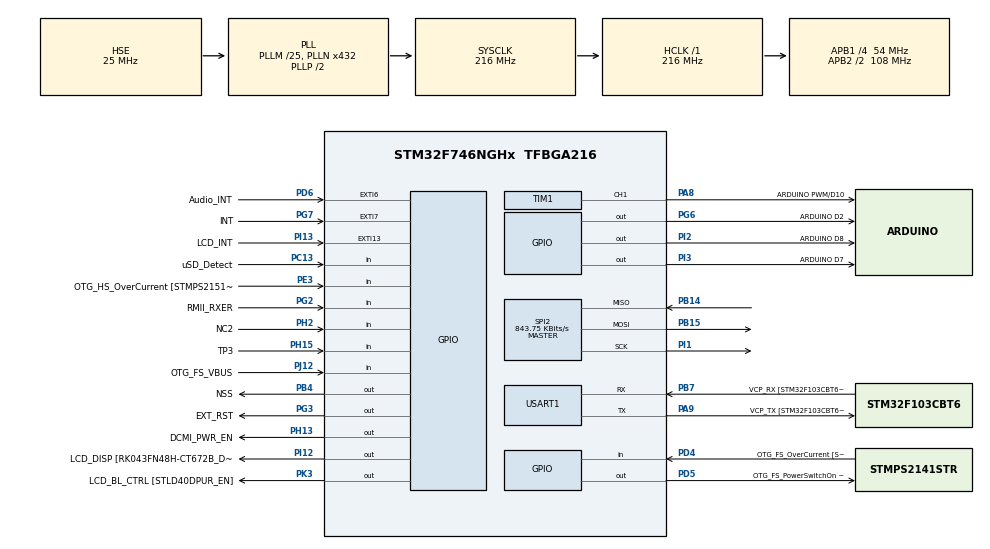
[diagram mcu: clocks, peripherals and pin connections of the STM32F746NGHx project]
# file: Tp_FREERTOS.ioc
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FREERTOS.Tasks01=defaultTask,0,128,StartDefaultTask,Default,NULL,Dynamic,NULL,NULL
FREERTOS.configCHECK_FOR_STACK_OVERFLOW=1
FREERTOS.configGENERATE_RUN_TIME_STATS=1
FREERTOS.configUSE_STATS_FORMATTING_FUNCTIONS=1
FREERTOS.configUSE_TRACE_FACILITY=1
Mcu.Family=STM32F7
Mcu.Name=STM32F746NGHx
Mcu.Package=TFBGA216
NVIC.PriorityGroup=NVIC_PRIORITYGROUP_4
NVIC.TIM6_DAC_IRQn=true\:15\:0\:false\:false\:true\:false\:false\:true\:true
NVIC.TimeBase=TIM6_DAC_IRQn
NVIC.TimeBaseIP=TIM6
NVIC.USART1_IRQn=true\:5\:0\:false\:false\:true\:true\:true\:true\:true
PA0/WKUP.GPIO_Label=ARDUINO A0
PA0/WKUP.GPIO_Mode=GPIO_MODE_ANALOG
PA0/WKUP.GPIO_PuPd=GPIO_NOPULL
PA0/WKUP.Signal=ADCx_IN0
PA1.GPIO_Label=RMII_REF_CLK [LAN8742A-CZ-TR_REFCLK0]
PA1.Signal=ETH_REF_CLK
PA11.GPIO_Label=OTG_FS_N
PA11.Signal=USB_OTG_FS_DM
PA12.GPIO_Label=OTG_FS_P
PA12.Signal=USB_OTG_FS_DP
PA13.GPIO_Label=SWDIO
PA13.Mode=Serial_Wire
PA13.Signal=SYS_JTMS-SWDIO
PA14.GPIO_Label=SWCLK
PA14.Mode=Serial_Wire
PA14.Signal=SYS_JTCK-SWCLK
PA15.GPIO_Label=ARDUINO PWM/D9
PA15.GPIO_ModeDefaultPP=GPIO_MODE_AF_PP
PA15.GPIO_PuPd=GPIO_NOPULL
PA15.GPIO_Speed=GPIO_SPEED_FREQ_LOW
PA15.Signal=S_TIM2_CH1_ETR
PA2.GPIO_Label=RMII_MDIO [LAN8742A-CZ-TR_MDIO]
PA2.Signal=ETH_MDIO
PA3.GPIO_Label=ULPI_D0 [USB3320C-EZK_D0]
PA3.Signal=USB_OTG_HS_ULPI_D0
PA4.GPIO_Label=DCMI_HSYNC
PA4.Signal=DCMI_HSYNC
PA5.GPIO_Label=ULPI_CLK [USB3320C-EZK_CLKOUT]
PA5.Signal=USB_OTG_HS_ULPI_CK
PA6.Signal=DCMI_PIXCLK
PA7.GPIO_Label=RMII_CRS_DV [LAN8742A-CZ-TR_CRS_DV]
PA7.Signal=ETH_CRS_DV
PA8.GPIO_Label=ARDUINO PWM/D10
PA8.GPIO_ModeDefaultPP=GPIO_MODE_AF_PP
PA8.GPIO_PuPd=GPIO_NOPULL
PA8.GPIO_Speed=GPIO_SPEED_FREQ_LOW
PA8.Signal=S_TIM1_CH1
PA9.GPIO_Label=VCP_TX [STM32F103CBT6_PA3]
PA9.GPIO_Mode=GPIO_MODE_AF_PP
PA9.GPIO_PuPd=GPIO_NOPULL
PA9.GPIO_Speed=GPIO_SPEED_FREQ_LOW
PA9.Mode=Asynchronous
PA9.Signal=USART1_TX
PB0.GPIO_Label=ULPI_D1 [USB3320C-EZK_D1]
PB0.Signal=USB_OTG_HS_ULPI_D1
PB1.GPIO_Label=ULPI_D2 [USB3320C-EZK_D2]
PB1.Signal=USB_OTG_HS_ULPI_D2
PB10.GPIO_Label=ULPI_D3 [USB3320C-EZK_D3]
PB10.Signal=USB_OTG_HS_ULPI_D3
PB11.GPIO_Label=ULPI_D4 [USB3320C-EZK_D4]
PB11.Signal=USB_OTG_HS_ULPI_D4
PB12.GPIO_Label=ULPI_D5 [USB3320C-EZK_D5]
PB12.Signal=USB_OTG_HS_ULPI_D5
PB13.GPIO_Label=ULPI_D6 [USB3320C-EZK_D6]
PB13.Signal=USB_OTG_HS_ULPI_D6
PB14.Mode=Full_Duplex_Master
PB14.Signal=SPI2_MISO
PB15.Mode=Full_Duplex_Master
PB15.Signal=SPI2_MOSI
PB2.Signal=QUADSPI_CLK
PB3.GPIO_Label=SWO
PB3.Signal=SYS_JTDO-SWO
PB4.GPIO_Label=NSS
PB4.PinState=GPIO_PIN_SET
PB4.Signal=GPIO_Output
PB5.GPIO_Label=ULPI_D7 [USB3320C-EZK_D7]
PB5.Signal=USB_OTG_HS_ULPI_D7
PB6.GPIO_Label=QSPI_NCS [N25Q128A13EF840E_S]
PB6.Signal=QUADSPI_BK1_NCS
PB7.GPIO_Label=VCP_RX [STM32F103CBT6_PA2]
PB7.GPIO_Mode=GPIO_MODE_AF_PP
PB7.GPIO_PuPd=GPIO_NOPULL
PB7.GPIO_Speed=GPIO_SPEED_FREQ_LOW
PB7.Mode=Asynchronous
PB7.Signal=USART1_RX
PB8.GPIO_Label=ARDUINO SCL/D15
PB8.GPIO_Mode=GPIO_MODE_AF_OD
PB8.GPIO_PuPd=GPIO_NOPULL
PB8.GPIO_Speed=GPIO_SPEED_FREQ_LOW
PB8.Signal=I2C1_SCL
PB9.GPIO_Label=ARDUINO SDA/D14
PB9.GPIO_Mode=GPIO_MODE_AF_OD
PB9.GPIO_PuPd=GPIO_NOPULL
PB9.GPIO_Speed=GPIO_SPEED_FREQ_LOW
PB9.Signal=I2C1_SDA
PC0.GPIO_Label=ULPI_STP [USB3320C-EZK_STP]
PC0.Signal=USB_OTG_HS_ULPI_STP
PC1.GPIO_Label=RMII_MDC [LAN8742A-CZ-TR_MDC]
PC1.Signal=ETH_MDC
PC10.GPIO_Label=SDMMC_D2
PC10.Signal=SDMMC1_D2
PC11.GPIO_Label=SDMMC_D3
PC11.Signal=SDMMC1_D3
PC12.GPIO_Label=SDMMC_CK
PC12.Signal=SDMMC1_CK
PC13.GPIO_Label=uSD_Detect
PC13.Signal=GPIO_Input
PC14/OSC32_IN.GPIO_Label=RCC_OSC32_IN
PC14/OSC32_IN.Signal=RCC_OSC32_IN
PC15/OSC32_OUT.GPIO_Label=RCC_OSC32_OUT
PC15/OSC32_OUT.Signal=RCC_OSC32_OUT
PC2.GPIO_Label=ULPI_DIR [USB3320C-EZK_DIR]
PC2.Signal=USB_OTG_HS_ULPI_DIR
PC3.GPIO_Label=FMC_SDCKE0 [MT48LC4M32B2B5-6A_CKE]
PC3.Signal=FMC_SDCKE0
PC4.GPIO_Label=RMII_RXD0 [LAN8742A-CZ-TR_RXD0]
PC4.Signal=ETH_RXD0
PC5.GPIO_Label=RMII_RXD1 [LAN8742A-CZ-TR_RXD1]
PC5.Signal=ETH_RXD1
PC6.GPIO_Label=ARDUINO TX/D1
PC6.Signal=USART6_TX
PC7.GPIO_Label=ARDUINO RX/D0
PC7.Signal=USART6_RX
PC8.Signal=SDMMC1_D0
PC9.Signal=SDMMC1_D1
PD0.GPIO_Label=FMC_D2 [MT48LC4M32B2B5-6A_DQ2]
PD0.Signal=FMC_D2_DA2
PD1.GPIO_Label=FMC_D3 [MT48LC4M32B2B5-6A_DQ3]
PD1.Signal=FMC_D3_DA3
PD10.GPIO_Label=FMC_D15 [MT48LC4M32B2B5-6A_DQ15]
PD10.Signal=FMC_D15_DA15
PD11.GPIO_Label=QSPI_D0 [N25Q128A13EF840E_DQ0]
PD11.Signal=QUADSPI_BK1_IO0
PD12.GPIO_Label=QSPI_D1 [N25Q128A13EF840E_DQ1]
PD12.Signal=QUADSPI_BK1_IO1
PD13.GPIO_Label=QSPI_D3 [N25Q128A13EF840E_DQ3]
PD13.Signal=QUADSPI_BK1_IO3
PD14.GPIO_Label=FMC_D0 [MT48LC4M32B2B5-6A_DQ0]
PD14.Signal=FMC_D0_DA0
PD15.GPIO_Label=FMC_D1 [MT48LC4M32B2B5-6A_DQ1]
PD15.Signal=FMC_D1_DA1
PD2.GPIO_Label=SDMMC_D0
PD2.Signal=SDMMC1_CMD
PD3.GPIO_Label=DCMI_D5
PD3.Signal=DCMI_D5
PD4.GPIO_Label=OTG_FS_OverCurrent [STMPS2141STR_Fault]
PD4.Signal=GPIO_Input
PD5.GPIO_Label=OTG_FS_PowerSwitchOn [STMPS2141STR_EN]
PD5.PinState=GPIO_PIN_SET
PD5.Signal=GPIO_Output
PD6.GPIO_Label=Audio_INT
PD6.GPIO_ModeDefaultEXTI=GPIO_MODE_EVT_RISING
PD6.Signal=GPXTI6
PD7.GPIO_Label=SPDIF_RX0 [74LVC1G04SE_4]
PD7.Signal=SPDIFRX_IN0
PD8.GPIO_Label=FMC_D13 [MT48LC4M32B2B5-6A_DQ13]
PD8.Signal=FMC_D13_DA13
PD9.GPIO_Label=FMC_D14 [MT48LC4M32B2B5-6A_DQ14]
PD9.Signal=FMC_D14_DA14
PE0.GPIO_Label=FMC_NBL0 [MT48LC4M32B2B5-6A_DQM0]
PE0.Signal=FMC_NBL0
PE1.GPIO_Label=FMC_NBL1 [MT48LC4M32B2B5-6A_DQM1]
PE1.Signal=FMC_NBL1
PE10.GPIO_Label=FMC_D7 [MT48LC4M32B2B5-6A_DQ7]
PE10.Signal=FMC_D7_DA7
PE11.GPIO_Label=FMC_D8 [MT48LC4M32B2B5-6A_DQ8]
PE11.Signal=FMC_D8_DA8
PE12.GPIO_Label=FMC_D9 [MT48LC4M32B2B5-6A_DQ9]
PE12.Signal=FMC_D9_DA9
PE13.GPIO_Label=FMC_D10 [MT48LC4M32B2B5-6A_DQ10]
PE13.Signal=FMC_D10_DA10
PE14.GPIO_Label=FMC_D11 [MT48LC4M32B2B5-6A_DQ11]
PE14.Signal=FMC_D11_DA11
PE15.GPIO_Label=FMC_D12 [MT48LC4M32B2B5-6A_DQ12]
PE15.Signal=FMC_D12_DA12
PE2.GPIO_Label=QSPI_D2 [N25Q128A13EF840E_DQ2]
PE2.Signal=QUADSPI_BK1_IO2
PE3.GPIO_Label=OTG_HS_OverCurrent [STMPS2151STR_FAULT]
PE3.Signal=GPIO_Input
PE4.GPIO_Label=LCD_B0 [RK043FN48H-CT672B_B0]
PE4.Signal=LTDC_B0
PE5.GPIO_Label=DCMI_D6
PE5.Signal=DCMI_D6
PE6.GPIO_Label=DCMI_D7
PE6.Signal=DCMI_D7
PE7.GPIO_Label=FMC_D4 [MT48LC4M32B2B5-6A_DQ4]
PE7.Signal=FMC_D4_DA4
PE8.GPIO_Label=FMC_D5 [MT48LC4M32B2B5-6A_DQ5]
PE8.Signal=FMC_D5_DA5
PE9.GPIO_Label=FMC_D6 [MT48LC4M32B2B5-6A_DQ6]
PE9.Signal=FMC_D6_DA6
PF0.GPIO_Label=FMC_A0 [MT48LC4M32B2B5-6A_A0]
PF0.Signal=FMC_A0
PF1.GPIO_Label=FMC_A1 [MT48LC4M32B2B5-6A_A1]
PF1.Signal=FMC_A1
PF10.GPIO_Label=ARDUINO A1
PF10.GPIO_Mode=GPIO_MODE_ANALOG
PF10.GPIO_PuPd=GPIO_NOPULL
PF10.Signal=ADC3_IN8
PF11.GPIO_Label=FMC_SDNRAS [MT48LC4M32B2B5-6A_RAS]
PF11.Signal=FMC_SDNRAS
PF12.GPIO_Label=FMC_A6 [MT48LC4M32B2B5-6A_A6]
PF12.Signal=FMC_A6
PF13.GPIO_Label=FMC_A7 [MT48LC4M32B2B5-6A_A7]
PF13.Signal=FMC_A7
PF14.GPIO_Label=FMC_A8 [MT48LC4M32B2B5-6A_A8]
PF14.Signal=FMC_A8
PF15.GPIO_Label=FMC_A9 [MT48LC4M32B2B5-6A_A9]
PF15.Signal=FMC_A9
PF2.GPIO_Label=FMC_A2 [MT48LC4M32B2B5-6A_A2]
PF2.Signal=FMC_A2
PF3.GPIO_Label=FMC_A3 [MT48LC4M32B2B5-6A_A3]
PF3.Signal=FMC_A3
PF4.GPIO_Label=FMC_A4 [MT48LC4M32B2B5-6A_A4]
PF4.Signal=FMC_A4
PF5.GPIO_Label=FMC_A5 [MT48LC4M32B2B5-6A_A5]
PF5.Signal=FMC_A5
PF6.GPIO_Label=ARDUINO A5
PF6.GPIO_Mode=GPIO_MODE_ANALOG
PF6.GPIO_PuPd=GPIO_NOPULL
PF6.Signal=ADC3_IN4
PF7.GPIO_Label=ARDUINO A4
PF7.GPIO_Mode=GPIO_MODE_ANALOG
PF7.GPIO_PuPd=GPIO_NOPULL
PF7.Signal=ADC3_IN5
PF8.GPIO_Label=ARDUINO A3
PF8.GPIO_Mode=GPIO_MODE_ANALOG
PF8.GPIO_PuPd=GPIO_NOPULL
PF8.Signal=ADC3_IN6
PF9.GPIO_Label=ARDUINO A2
PF9.GPIO_Mode=GPIO_MODE_ANALOG
PF9.GPIO_PuPd=GPIO_NOPULL
PF9.Signal=ADC3_IN7
PG0.GPIO_Label=FMC_A10 [MT48LC4M32B2B5-6A_A10]
PG0.Signal=FMC_A10
PG1.GPIO_Label=FMC_A11 [MT48LC4M32B2B5-6A_A11]
PG1.Signal=FMC_A11
PG10.GPIO_Label=SAI2_SDB [WM8994ECS/R_ADCDAT1]
PG10.Signal=SAI2_SD_B
PG11.GPIO_Label=RMII_TX_EN [LAN8742A-CZ-TR_TXEN]
PG11.Signal=ETH_TX_EN
PG12.GPIO_Label=LCD_B4 [RK043FN48H-CT672B_B4]
PG12.Signal=LTDC_B4
PG13.GPIO_Label=RMII_TXD0 [LAN8742A-CZ-TR_TXD0]
PG13.Signal=ETH_TXD0
PG14.GPIO_Label=RMII_TXD1 [LAN8742A-CZ-TR_TXD1]
PG14.Signal=ETH_TXD1
PG15.GPIO_Label=FMC_SDNCAS [MT48LC4M32B2B5-6A_CAS]
PG15.Signal=FMC_SDNCAS
PG2.GPIO_Label=RMII_RXER
PG2.Signal=GPIO_Input
PG3.GPIO_Label=EXT_RST
PG3.Signal=GPIO_Output
PG4.GPIO_Label=FMC_BA0 [MT48LC4M32B2B5-6A_BA0]
PG4.Signal=FMC_A14_BA0
PG5.GPIO_Label=FMC_BA1 [MT48LC4M32B2B5-6A_BA1]
PG5.Signal=FMC_A15_BA1
PG6.GPIO_Label=ARDUINO D2
PG6.Signal=GPIO_Output
PG7.GPIO_Label=INT
PG7.Signal=GPXTI7
PG8.GPIO_Label=FMC_SDCLK [MT48LC4M32B2B5-6A_CLK]
PG8.Signal=FMC_SDCLK
PG9.GPIO_Label=DCMI_VSYNC
PG9.Signal=DCMI_VSYNC
PH0/OSC_IN.GPIO_Label=OSC_25M [NZ2520SB-25.00M_OUT]
PH0/OSC_IN.Mode=HSE-External-Oscillator
PH0/OSC_IN.Signal=RCC_OSC_IN
PH1/OSC_OUT.Mode=HSE-External-Oscillator
PH1/OSC_OUT.Signal=RCC_OSC_OUT
PH10.GPIO_Label=DCMI_D1
PH10.Signal=DCMI_D1
PH11.GPIO_Label=DCMI_D2
PH11.Signal=DCMI_D2
PH12.GPIO_Label=DCMI_D3
PH12.Signal=DCMI_D3
PH13.GPIO_Label=DCMI_PWR_EN
PH13.Signal=GPIO_Output
PH14.GPIO_Label=DCMI_D4
PH14.Signal=DCMI_D4
PH15.GPIO_Label=TP3
PH15.Signal=GPIO_Input
PH2.GPIO_Label=NC2
PH2.Signal=GPIO_Input
PH3.GPIO_Label=FMC_SDNE0 [MT48LC4M32B2B5-6A_CS]
PH3.Signal=FMC_SDNE0
PH4.GPIO_Label=ULPI_NXT [USB3320C-EZK_NXT]
PH4.Signal=USB_OTG_HS_ULPI_NXT
PH5.GPIO_Label=FMC_SDNME [MT48LC4M32B2B5-6A_WE]
PH5.Signal=FMC_SDNWE
PH6.GPIO_Label=ARDUINO PWM/D6
PH6.Signal=S_TIM12_CH1
PH7.GPIO_Label=LCD_SCL [RK043FN48H-CT672B_SCL]
PH7.Signal=I2C3_SCL
PH8.GPIO_Label=LCD_SDA [RK043FN48H-CT672B_SDA]
PH8.Signal=I2C3_SDA
PH9.GPIO_Label=DCMI_D0
PH9.Signal=DCMI_D0
PI0.GPIO_Label=ARDUINO PWM/CS/D5
PI0.GPIO_ModeDefaultPP=GPIO_MODE_AF_PP
PI0.GPIO_PuPd=GPIO_NOPULL
PI0.GPIO_Speed=GPIO_SPEED_FREQ_LOW
PI0.Signal=S_TIM5_CH4
PI1.Mode=Full_Duplex_Master
PI1.Signal=SPI2_SCK
PI10.GPIO_Label=LCD_HSYNC [RK043FN48H-CT672B_HSYNC]
PI10.Signal=LTDC_HSYNC
PI12.GPIO_Label=LCD_DISP [RK043FN48H-CT672B_DISP] 
PI12.Signal=GPIO_Output
PI13.GPIO_Label=LCD_INT
PI13.GPIO_ModeDefaultEXTI=GPIO_MODE_EVT_RISING
PI13.Signal=GPXTI13
PI14.GPIO_Label=LCD_CLK [RK043FN48H-CT672B_CLK]
PI14.Signal=LTDC_CLK
PI15.GPIO_Label=LCD_R0 [RK043FN48H-CT672B_R0]
PI15.Signal=LTDC_R0
PI2.GPIO_Label=ARDUINO D8
PI2.Signal=GPIO_Output
PI3.GPIO_Label=ARDUINO D7
PI3.Signal=GPIO_Output
PI4.GPIO_Label=SAI2_MCLKA [WM8994ECS/R_MCLK1]
PI4.Signal=SAI2_MCLK_A
PI5.GPIO_Label=SAI2_SCKA [WM8994ECS/R_BCLK1]
PI5.Signal=SAI2_SCK_A
PI6.GPIO_Label=SAI2_SDA [WM8994ECS/R_DACDAT1]
PI6.Signal=SAI2_SD_A
PI7.GPIO_Label=SAI2_FSA [WM8994ECS/R_LRCLK1]
PI7.Signal=SAI2_FS_A
PI8.GPIO_Label=NC1 [TP2]
PI8.Signal=RTC_TS
PI9.GPIO_Label=LCD_VSYNC [RK043FN48H-CT672B_VSYNC]
PI9.Signal=LTDC_VSYNC
PJ0.GPIO_Label=LCD_R1 [RK043FN48H-CT672B_R1]
PJ0.Signal=LTDC_R1
PJ1.GPIO_Label=LCD_R2 [RK043FN48H-CT672B_R2]
PJ1.Signal=LTDC_R2
PJ10.GPIO_Label=LCD_G3 [RK043FN48H-CT672B_G3]
PJ10.Signal=LTDC_G3
PJ11.GPIO_Label=LCD_G4 [RK043FN48H-CT672B_G4]
PJ11.Signal=LTDC_G4
PJ12.GPIO_Label=OTG_FS_VBUS
PJ12.Signal=GPIO_Input
PJ13.GPIO_Label=LCD_B1 [RK043FN48H-CT672B_B1]
PJ13.Signal=LTDC_B1
PJ14.GPIO_Label=LCD_B2 [RK043FN48H-CT672B_B2]
PJ14.Signal=LTDC_B2
PJ15.GPIO_Label=LCD_B3 [RK043FN48H-CT672B_B3]
PJ15.Signal=LTDC_B3
PJ2.GPIO_Label=LCD_R3 [RK043FN48H-CT672B_R3]
PJ2.Signal=LTDC_R3
PJ3.GPIO_Label=LCD_R4 [RK043FN48H-CT672B_R4]
PJ3.Signal=LTDC_R4
PJ4.GPIO_Label=LCD_R5 [RK043FN48H-CT672B_R5]
PJ4.Signal=LTDC_R5
PJ5.GPIO_Label=LCD_R6 [RK043FN48H-CT672B_R6]
PJ5.Signal=LTDC_R6
PJ6.GPIO_Label=LCD_R7 [RK043FN48H-CT672B_R7]
PJ6.Signal=LTDC_R7
PJ7.GPIO_Label=LCD_G0 [RK043FN48H-CT672B_G0]
PJ7.Signal=LTDC_G0
PJ8.GPIO_Label=LCD_G1 [RK043FN48H-CT672B_G1]
PJ8.Signal=LTDC_G1
PJ9.GPIO_Label=LCD_G2 [RK043FN48H-CT672B_G2]
PJ9.Signal=LTDC_G2
PK0.GPIO_Label=LCD_G5 [RK043FN48H-CT672B_G5]
PK0.Signal=LTDC_G5
PK1.GPIO_Label=LCD_G6 [RK043FN48H-CT672B_G6]
PK1.Signal=LTDC_G6
PK2.GPIO_Label=LCD_G7 [RK043FN48H-CT672B_G7]
PK2.Signal=LTDC_G7
PK3.GPIO_Label=LCD_BL_CTRL [STLD40DPUR_EN]
PK3.Signal=GPIO_Output
PK4.GPIO_Label=LCD_B5 [RK043FN48H-CT672B_B5]
PK4.Signal=LTDC_B5
PK5.GPIO_Label=LCD_B6 [RK043FN48H-CT672B_B6]
PK5.Signal=LTDC_B6
PK6.GPIO_Label=LCD_B7 [RK043FN48H-CT672B_B7]
PK6.Signal=LTDC_B7
PK7.GPIO_Label=LCD_DE [RK043FN48H-CT672B_DE]
PK7.Signal=LTDC_DE
ProjectManager.HeapSize=0x200
ProjectManager.StackSize=0x400
ProjectManager.TargetToolchain=STM32CubeIDE
RCC.AHBFreq_Value=216000000
RCC.APB1CLKDivider=RCC_HCLK_DIV4
RCC.APB1Freq_Value=54000000
RCC.APB1TimFreq_Value=108000000
RCC.APB2CLKDivider=RCC_HCLK_DIV2
RCC.APB2Freq_Value=108000000
RCC.APB2TimFreq_Value=216000000
RCC.CortexFreq_Value=216000000
RCC.HCLKFreq_Value=216000000
RCC.HSE_VALUE=25000000
RCC.HSI_VALUE=16000000
RCC.LSE_VALUE=32768
RCC.PLLM=25
RCC.PLLN=432
RCC.PLLSourceVirtual=RCC_PLLSOURCE_HSE
RCC.SYSCLKFreq_VALUE=216000000
RCC.SYSCLKSource=RCC_SYSCLKSOURCE_PLLCLK
RCC.USBFreq_Value=216000000
RCC.VCOOutputFreq_Value=432000000
SH.ADCx_IN0.0=ADC3_IN0
SH.FMC_A0.0=FMC_A0
SH.FMC_A1.0=FMC_A1
SH.FMC_A10.0=FMC_A10
SH.FMC_A11.0=FMC_A11
SH.FMC_A14_BA0.0=FMC_BA0
SH.FMC_A15_BA1.0=FMC_BA1
SH.FMC_A2.0=FMC_A2
SH.FMC_A3.0=FMC_A3
SH.FMC_A4.0=FMC_A4
SH.FMC_A5.0=FMC_A5
SH.FMC_A6.0=FMC_A6
SH.FMC_A7.0=FMC_A7
SH.FMC_A8.0=FMC_A8
SH.FMC_A9.0=FMC_A9
SH.FMC_D0_DA0.0=FMC_D0
SH.FMC_D10_DA10.0=FMC_D10
SH.FMC_D11_DA11.0=FMC_D11
SH.FMC_D12_DA12.0=FMC_D12
SH.FMC_D13_DA13.0=FMC_D13
SH.FMC_D14_DA14.0=FMC_D14
SH.FMC_D15_DA15.0=FMC_D15
SH.FMC_D1_DA1.0=FMC_D1
SH.FMC_D2_DA2.0=FMC_D2
SH.FMC_D3_DA3.0=FMC_D3
SH.FMC_D4_DA4.0=FMC_D4
SH.FMC_D5_DA5.0=FMC_D5
SH.FMC_D6_DA6.0=FMC_D6
SH.FMC_D7_DA7.0=FMC_D7
SH.FMC_D8_DA8.0=FMC_D8
SH.FMC_D9_DA9.0=FMC_D9
SH.FMC_NBL0.0=FMC_NBL0
SH.FMC_NBL1.0=FMC_NBL1
SH.FMC_SDCLK.0=FMC_SDCLK
SH.FMC_SDNCAS.0=FMC_SDNCAS
SH.FMC_SDNRAS.0=FMC_SDNRAS
SH.FMC_SDNWE.0=FMC_SDNWE
SH.S_TIM12_CH1.0=TIM12_CH1
SH.S_TIM1_CH1.0=TIM1_CH1,PWM Generation1 CH1
SH.S_TIM2_CH1_ETR.0=TIM2_CH1
SH.S_TIM5_CH4.0=TIM5_CH4
SPI2.BaudRatePrescaler=SPI_BAUDRATEPRESCALER_64
SPI2.CLKPhase=SPI_PHASE_2EDGE
SPI2.CLKPolarity=SPI_POLARITY_HIGH
SPI2.CalculateBaudRate=843.75 KBits/s
SPI2.DataSize=SPI_DATASIZE_8BIT
SPI2.Direction=SPI_DIRECTION_2LINES
SPI2.Mode=SPI_MODE_MASTER
SPI2.VirtualType=VM_MASTER
TIM1.Channel-PWM\ Generation1\ CH1=TIM_CHANNEL_1
USART1.VirtualMode-Asynchronous=VM_ASYNC
VP_FREERTOS_VS_CMSIS_V1.Mode=CMSIS_V1
VP_SYS_VS_tim6.Mode=TIM6
VP_TIM1_VS_ClockSourceINT.Mode=Internal
board=STM32F746G-DISCO

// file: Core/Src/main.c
/* USER CODE BEGIN Header */
/**
 ******************************************************************************
 * @file           : main.c
 * @brief          : Main program body
 ******************************************************************************
 * @attention
 *
 * Copyright (c) 2022 STMicroelectronics.
 * All rights reserved.
 *
 * This software is licensed under terms that can be found in the LICENSE file
 * in the root directory of this software component.
 * If no LICENSE file comes with this software, it is provided AS-IS.
 *
 ******************************************************************************
 */
/* USER CODE END Header */
#include "main.h"
#include "cmsis_os.h"
#include "spi.h"
#include "tim.h"
#include "usart.h"
#include "gpio.h"

/* USER CODE BEGIN Includes */
#include <stdio.h>
#include <stdlib.h>
#include "shell.h"
/* USER CODE END Includes */

/* USER CODE BEGIN PD */
#define STACK_SIZE 256

#define TASK1_PRIORITY 1
#define TASK2_PRIORITY 2

#define TASK1_DELAY 1
#define TASK2_DELAY 2

int leddelay = 1;
int spamdelay = 1;

QueueHandle_t QueueHandle;
UBaseType_t uxQueueLength = 10, uxItemSize = sizeof(int);
TaskHandle_t handle_blink_led, handle_echo_uart, handle_givetask, handle_taketask, handle_shell,handle_spam,handle_bidon;

SemaphoreHandle_t timeMutex;

/* USER CODE END PD */

void SystemClock_Config(void);
void MX_FREERTOS_Init(void);

/* USER CODE BEGIN 0 */
int __io_putchar(int ch)
{
	HAL_UART_Transmit(&huart1, (uint8_t *)&ch, 1, HAL_MAX_DELAY);
	return ch;
}

void HAL_UART_RxCpltCallback(UART_HandleTypeDef *huart)
{
	if(huart->Instance == USART1)
	{
		BaseType_t xHigherPriorityTaskWoken; //
		vTaskNotifyGiveFromISR( handle_shell, &xHigherPriorityTaskWoken );

		portYIELD_FROM_ISR( xHigherPriorityTaskWoken ); //
	}

}

void task1(void * pvParameters)
{
	int delay = (int) pvParameters;

	for(;;)
	{
		if (xSemaphoreTake(timeMutex, portMAX_DELAY) == pdTRUE){
			printf("Je suis la tache 1 et je m'endors pour %d ticks\r\n", delay);
			xSemaphoreGive(timeMutex);
		}
		vTaskDelay(delay);
	}
}

void task2(void * pvParameters)
{
	int delay = (int) pvParameters;

	for(;;)
	{
		if (xSemaphoreTake(timeMutex, portMAX_DELAY) == pdTRUE){
			printf("Je suis la tache 2 et je m'endors pour %d ticks\r\n", delay);
			xSemaphoreGive(timeMutex);

		}
		vTaskDelay(delay);
	}
}

/*void task_blink_led(void * pvParameters)
{
	for(;;)
	{
		HAL_GPIO_TogglePin(GPIOI,LED1_Pin);
		vTaskDelay(leddelay);
	}
}
*/

/*void task_spam(void * pvParameters)
{
	for(;;)
	{
		if (spamdelay != 0)
		{

			printf("%s\r\n",msg);
			vTaskDelay(spamdelay);
		}

		else
		{
			vTaskSuspend(handle_spam);
		}
	}
}
*/

void task_bidon(void * pvParameters)
{
	for(;;)
	{

	}

}

void task_give(void * unused)
{
	int q_value_send;
	for(;;)
	{
		for (int i = 0; i < 20; i++)
				{
					q_value_send = i;
					xQueueSend(QueueHandle, &q_value_send ,portMAX_DELAY);
					vTaskDelay(portTICK_PERIOD_MS*100*i);
				}
	}
}

void task_take(void * unused)
{
	int q_value_receive;
	BaseType_t ret_q;
	for(;;)
	{
		ret_q = xQueueReceive(QueueHandle, &q_value_receive ,1000);
	}
}

int fonction(int argc, char ** argv)
{
	printf("argc = %d\r\n", argc);

	for(int itr = 0; itr < argc; itr++)
	{
		printf("argv[%d] = %s\r\n", itr, argv[itr]);
	}

	return 0;
}

int led(int argc, char ** argv)
{
	if(argc != 2)
	{
		printf("Error\r\n");
		return -1;
	}
	else
	{
		leddelay = atoi(argv[1]);
	}

	return 0;
}

int spam(int argc, char ** argv)
{
	if(argc != 2)
	{
		printf("Error\r\n");
		return -1;
	}
	else
	{
		for(int i = 0; i <= 10; i++)
		{
			printf("%s\r\n",argv[1]);
		}
	}

	return 0;
}

void configureTImerForRunTimeStats(void)
{
	HAL_TIM_Base_Start(&htim1);
}

unsigned long getRunTimeCounterValue(void)
{
	//return __HAL_TIM_GET_COUNTER(&htim1);
	unsigned long time = __HAL_TIM_GET_COUNTER(&htim1);
	//printf("Run Time Counter Value: %lu\r\n", time);
	return 0;
}

int show_runtime_stats(int argc, char **argv) {
    char buffer[512];
    vTaskGetRunTimeStats(buffer);
    printf("Run Time Stats:\r\n%s\r\n", buffer);
    return 0;
}

int show_task_list(int argc, char **argv) {
    char buffer[512];
    vTaskList(buffer);
    printf("Task List:\r\n%s\r\n", buffer);
    return 0;
}

int write_read_adx(int argc, char ** argv)
{
	uint8_t command[2] = {0x80, 0};
	uint8_t data[2] = {0, 0};

	HAL_GPIO_WritePin(NSS_GPIO_Port,NSS_Pin,GPIO_PIN_RESET);
	HAL_SPI_TransmitReceive(&hspi2, command, data, 2, 100);
	HAL_GPIO_WritePin(NSS_GPIO_Port,NSS_Pin,GPIO_PIN_SET);

	printf("Données reçues: 0x%x\r\n",data[1]);
}

int PowerCTL(int argc, char ** argv)
{
	uint8_t command[2] = {0x2D, 0x00};
	HAL_GPIO_WritePin(NSS_GPIO_Port,NSS_Pin,GPIO_PIN_RESET);
	HAL_SPI_Transmit(&hspi2, command, 2, 100);
	HAL_GPIO_WritePin(NSS_GPIO_Port,NSS_Pin,GPIO_PIN_SET);
}

int PowerCTLWake(int argc, char ** argv)
{
	uint8_t command[2] = {0x2D, 0x08};
	HAL_GPIO_WritePin(NSS_GPIO_Port,NSS_Pin,GPIO_PIN_RESET);
	HAL_SPI_Transmit(&hspi2, command, 2, 100);
	HAL_GPIO_WritePin(NSS_GPIO_Port,NSS_Pin,GPIO_PIN_SET);
}

int DataFormat(int argc, char ** argv)
{
	uint8_t command[2] = {0x31, 0x01};
	HAL_GPIO_WritePin(NSS_GPIO_Port,NSS_Pin,GPIO_PIN_RESET);
	HAL_SPI_Transmit(&hspi2, command, 2, 100);
	HAL_GPIO_WritePin(NSS_GPIO_Port,NSS_Pin,GPIO_PIN_SET);
}

int Read4Data(int argc, char ** argv)
{

	uint8_t command = 0x32 | 0x80;
	uint8_t data[6];

	HAL_GPIO_WritePin(NSS_GPIO_Port, NSS_Pin, GPIO_PIN_RESET);
	HAL_SPI_Transmit(&hspi2, &command, 1, HAL_MAX_DELAY);
	HAL_SPI_Receive(&hspi2, &data, 6, HAL_MAX_DELAY);
	HAL_GPIO_WritePin(NSS_GPIO_Port, NSS_Pin, GPIO_PIN_SET);

	int16_t x = (int16_t)((data[1] << 8) | data[0]);
	int16_t y = (int16_t)((data[3] << 8) | data[2]);
	int16_t z = (int16_t)((data[5] << 8) | data[4]);

	int xg = x * 0.0078;
	int yg = y * 0.0078;
	int zg = z * 0.0078;

	printf("x: %d\r\n",xg);
	printf("y: %d\r\n",yg);
	printf("z: %d\r\n",zg);

}

int addition (int argc, char ** argv)
{
	//récupérer deux paramètre ni plus ni moins
	//convertir les deux paramètres en nombres entier
	//les additioners et afficher le résultat

	if(argc != 3)
	{
		//faire planter proprement si on a plus de deux paramètre
		printf("Error, excpected 2 argument\r\n");
		return -1;
	}
	else
	{
		int a,b, result;
		// permet de récupérer les deux paramètres et de les convertir en entier
		a = atoi(argv[1]);
		b = atoi(argv[2]);

		result = a+b;
		printf("%d + %d = %d\r\n", a, b, result);
	}

	return 0;
}

int vApplicationStackOverflowHook(TaskHandle_t xTask,unsigned char *pcTaskName)
{
	printf("Overflow task %s\r\n", pcTaskName);
}

void shell(void * unused)
{
	shell_init();
	shell_add('l', led, "Blink");
	shell_add('a', addition, "Add 2 value");
	shell_add('s', spam, "spam");
	//shell_add('t',getRunTimeCounterValue,"time");
	//shell_add('r',show_runtime_stats,"runtime");
	//shell_add('T',show_task_list,"task");
	shell_add('w', write_read_adx, "write read adx");
	shell_add('x', PowerCTL, "Power");
	shell_add('c', PowerCTLWake, "Wake Power");
	shell_add('v', DataFormat, "Data Format");
	shell_add('b', Read4Data, "Read");
	shell_run();
}

/* USER CODE END 0 */

int main(void)
{

  /* MCU Configuration--------------------------------------------------------*/

  /* Reset of all peripherals, Initializes the Flash interface and the Systick. */
  HAL_Init();

  /* Configure the system clock */
  SystemClock_Config();

  /* Initialize all configured peripherals */
  MX_GPIO_Init();
  MX_USART1_UART_Init();
  MX_TIM1_Init();
  MX_SPI2_Init();
  /* USER CODE BEGIN 2 */
  BaseType_t ret;
  TaskHandle_t h_task1 = NULL;
  TaskHandle_t h_task2 = NULL;

	QueueHandle =  xQueueCreate( uxQueueLength, uxItemSize);

	timeMutex = xSemaphoreCreateMutex();

	/* Create the task, storing the handle. */
	/*ret = xTaskCreate(task1, "Tache 1", STACK_SIZE, (void *) TASK1_DELAY, TASK1_PRIORITY, &h_task1);
	configASSERT(pdPASS == ret);
	ret = xTaskCreate(task2, "Tache 2", STACK_SIZE, (void *) TASK2_DELAY, TASK2_PRIORITY, &h_task2);
	configASSERT(pdPASS == ret);/*

	/*ret = xTaskCreate(task_give,"Give",256,NULL,6,&handle_givetask);
	configASSERT(pdPASS == ret);

	ret = xTaskCreate(task_take,"Take",256,NULL,7,&handle_taketask);
	configASSERT(pdPASS == ret);

	ret = xTaskCreate(task_blink_led,"Blink",256,NULL,5,&handle_blink_led);
	configASSERT(pdPASS == ret);

	if(ret != pdPASS)
	{
		printf("Error led\r\n");
		Error_Handler();
	}*/

	/*for(int i = 0;i<50;i++){
		if (ret == pdPASS){
			ret = xTaskCreate(task_bidon,"Bidon",256,NULL,11,&handle_bidon);
			printf("task %d created\r\n",i);
		}
		else
		{
			printf("Cant create task\r\n");
			Error_Handler();
		}
	}*/

	ret = xTaskCreate(shell,"Shell",256,NULL,10,&handle_shell);
	configASSERT(pdPASS == ret);

	if(ret != pdPASS)
		{
			printf("Error shell\r\n");
			Error_Handler();
		}

	vTaskStartScheduler();
  /* USER CODE END 2 */

  /* Call init function for freertos objects (in freertos.c) */
  MX_FREERTOS_Init();

  /* Start scheduler */
  osKernelStart();

  /* We should never get here as control is now taken by the scheduler */
  /* Infinite loop */
	while (1)
	{

	}
}

void SystemClock_Config(void)
{
  RCC_OscInitTypeDef RCC_OscInitStruct = {0};
  RCC_ClkInitTypeDef RCC_ClkInitStruct = {0};

  /** Configure the main internal regulator output voltage
  */
  __HAL_RCC_PWR_CLK_ENABLE();
  __HAL_PWR_VOLTAGESCALING_CONFIG(PWR_REGULATOR_VOLTAGE_SCALE1);

  /** Initializes the RCC Oscillators according to the specified parameters
  * in the RCC_OscInitTypeDef structure.
  */
  RCC_OscInitStruct.OscillatorType = RCC_OSCILLATORTYPE_HSE;
  RCC_OscInitStruct.HSEState = RCC_HSE_ON;
  RCC_OscInitStruct.PLL.PLLState = RCC_PLL_ON;
  RCC_OscInitStruct.PLL.PLLSource = RCC_PLLSOURCE_HSE;
  RCC_OscInitStruct.PLL.PLLM = 25;
  RCC_OscInitStruct.PLL.PLLN = 432;
  RCC_OscInitStruct.PLL.PLLP = RCC_PLLP_DIV2;
  RCC_OscInitStruct.PLL.PLLQ = 2;
  if (HAL_RCC_OscConfig(&RCC_OscInitStruct) != HAL_OK)
  {
    Error_Handler();
  }

  /** Activate the Over-Drive mode
  */
  if (HAL_PWREx_EnableOverDrive() != HAL_OK)
  {
    Error_Handler();
  }

  /** Initializes the CPU, AHB and APB buses clocks
  */
  RCC_ClkInitStruct.ClockType = RCC_CLOCKTYPE_HCLK|RCC_CLOCKTYPE_SYSCLK
                              |RCC_CLOCKTYPE_PCLK1|RCC_CLOCKTYPE_PCLK2;
  RCC_ClkInitStruct.SYSCLKSource = RCC_SYSCLKSOURCE_PLLCLK;
  RCC_ClkInitStruct.AHBCLKDivider = RCC_SYSCLK_DIV1;
  RCC_ClkInitStruct.APB1CLKDivider = RCC_HCLK_DIV4;
  RCC_ClkInitStruct.APB2CLKDivider = RCC_HCLK_DIV2;

  if (HAL_RCC_ClockConfig(&RCC_ClkInitStruct, FLASH_LATENCY_7) != HAL_OK)
  {
    Error_Handler();
  }
}

void HAL_TIM_PeriodElapsedCallback(TIM_HandleTypeDef *htim)
{
  if (htim->Instance == TIM6) {
    HAL_IncTick();
  }
}

void Error_Handler(void)
{
	__disable_irq();
	while (1)
	{
	}
}
